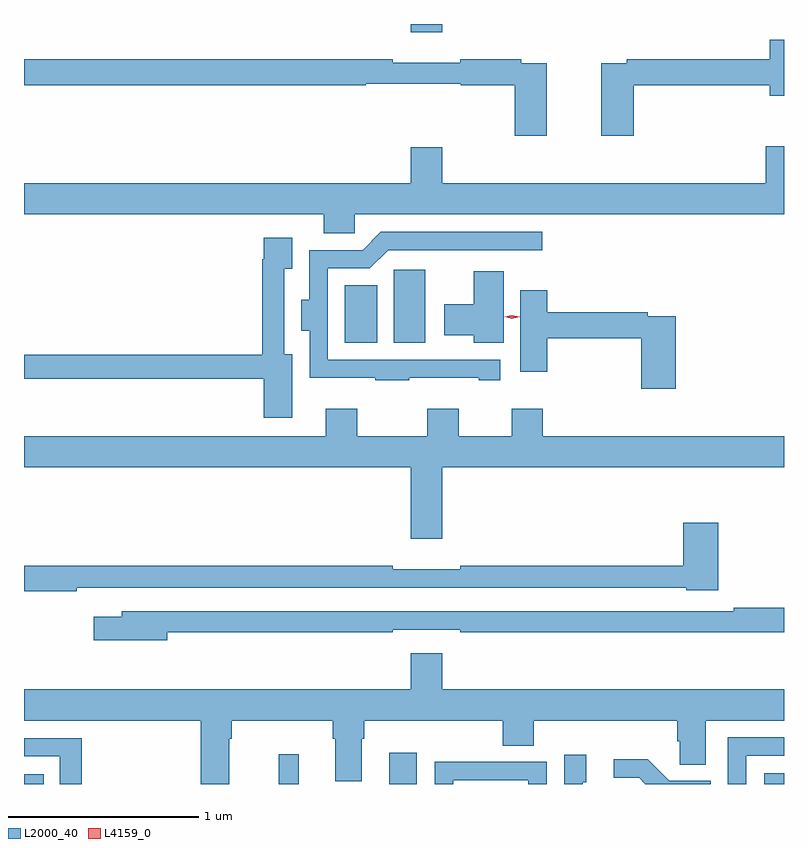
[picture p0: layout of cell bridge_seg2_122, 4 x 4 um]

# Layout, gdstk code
import gdstk
lib = gdstk.Library(unit=1e-6, precision=1e-09)
def R(c, l, rs):  # rectangles x0, y0, x1, y1
    for r in rs: c.add(gdstk.rectangle(r[:2], r[2:], *l))
def P(c, l, *ps):  # polygons
    for p in ps: c.add(gdstk.Polygon(p, *l))
L2000_40 = (2000, 40)
L4159_0 = (4159, 0)

bridge_seg2_122 = lib.new_cell('bridge_seg2_122')
R(bridge_seg2_122, L2000_40, [(462.672,645.97,462.776,646.021), (464.014,645.97,464.117,646.126), (464.594,645.97,464.74,646.135), (466.569,645.97,466.672,646.027), (464.36,648.293,464.53,648.595), (464.618,648.293,464.785,648.676), (464.708,649.926,464.872,649.97)])
P(bridge_seg2_122, L2000_40, [(465.881,649.648),(466.598,649.648),(466.598,649.592),(466.672,649.592),(466.672,649.888),(466.598,649.888),(466.598,649.784),(465.844,649.784),(465.844,649.764),(465.71,649.764),(465.71,649.383),(465.881,649.383)],
  [(465.424,649.764),(465.29,649.764),(465.29,649.784),(464.968,649.784),(464.968,649.765),(464.612,649.765),(464.612,649.784),(462.672,649.784),(462.672,649.648),(464.47,649.648),(464.47,649.656),(464.97,649.656),(464.97,649.648),(465.254,649.648),(465.254,649.383),(465.424,649.383)],
  [(464.412,648.968),(466.672,648.968),(466.672,649.327),(466.577,649.327),(466.577,649.132),(464.872,649.132),(464.872,649.321),(464.708,649.321),(464.708,649.132),(462.672,649.132),(462.672,648.968),(464.249,648.968),(464.249,648.87),(464.412,648.87)],
  [(464.699,648.107),(465.065,648.107),(465.065,648.096),(465.178,648.096),(465.178,648.204),(464.271,648.204),(464.271,648.684),(464.493,648.684),(464.589,648.78),(465.4,648.78),(465.4,648.876),(464.55,648.876),(464.454,648.78),(464.174,648.78),(464.174,648.52),(464.132,648.52),(464.132,648.356),(464.175,648.356),(464.175,648.107),(464.521,648.107),(464.521,648.096),(464.699,648.096)],
  [(464.083,648.232),(464.043,648.232),(464.043,648.683),(464.083,648.683),(464.083,648.844),(463.935,648.844),(463.935,648.731),(463.927,648.731),(463.927,648.23),(462.672,648.23),(462.672,648.102),(463.934,648.102),(463.934,647.898),(464.083,647.898)],
  [(465.196,648.67),(465.038,648.67),(465.038,648.496),(464.883,648.496),(464.883,648.332),(465.038,648.332),(465.038,648.293),(465.196,648.293)],
  [(466.103,648.432),(465.956,648.432),(465.956,648.452),(465.425,648.452),(465.425,648.568),(465.284,648.568),(465.284,648.141),(465.425,648.141),(465.425,648.316),(465.92,648.316),(465.92,648.051),(466.103,648.051)],
  [(464.872,647.636),(466.672,647.636),(466.672,647.8),(465.403,647.8),(465.403,647.944),(465.239,647.944),(465.239,647.8),(464.959,647.8),(464.959,647.944),(464.795,647.944),(464.795,647.8),(464.425,647.8),(464.425,647.944),(464.261,647.944),(464.261,647.8),(462.672,647.8),(462.672,647.636),(464.708,647.636),(464.708,647.262),(464.872,647.262)],
  [(462.95,647.004),(466.158,647.004),(466.158,646.991),(466.325,646.991),(466.325,647.344),(466.142,647.344),(466.142,647.12),(464.968,647.12),(464.968,647.101),(464.612,647.101),(464.612,647.12),(462.672,647.12),(462.672,646.984),(462.95,646.984)],
  [(463.426,646.77),(464.612,646.77),(464.612,646.782),(464.968,646.782),(464.968,646.77),(466.672,646.77),(466.672,646.898),(466.408,646.898),(466.408,646.878),(463.187,646.878),(463.187,646.849),(463.038,646.849),(463.038,646.727),(463.426,646.727)],
  [(463.753,646.208),(463.766,646.208),(463.766,646.304),(464.297,646.304),(464.297,646.208),(464.309,646.208),(464.309,645.984),(464.449,645.984),(464.449,646.208),(464.462,646.208),(464.462,646.304),(465.191,646.304),(465.191,646.171),(465.356,646.171),(465.356,646.304),(466.109,646.304),(466.109,646.195),(466.122,646.195),(466.122,646.072),(466.261,646.072),(466.261,646.304),(466.672,646.304),(466.672,646.468),(464.872,646.468),(464.872,646.657),(464.708,646.657),(464.708,646.468),(462.672,646.468),(462.672,646.304),(463.601,646.304),(463.601,645.97),(463.753,645.97)],
  [(466.473,646.119),(466.672,646.119),(466.672,646.215),(466.377,646.215),(466.377,645.97),(466.473,645.97)],
  [(462.977,646.212),(462.672,646.212),(462.672,646.116),(462.861,646.116),(462.861,645.97),(462.977,645.97)],
  [(465.612,645.978),(465.631,645.978),(465.631,646.123),(465.516,646.123),(465.516,645.97),(465.612,645.97)],
  [(466.287,645.987),(466.068,645.987),(465.955,646.1),(465.777,646.1),(465.777,646.002),(465.911,646.002),(465.943,645.97),(466.287,645.97)],
  [(464.931,645.99),(465.327,645.99),(465.327,645.97),(465.423,645.97),(465.423,646.086),(465.107,646.086),(465.107,646.088),(464.835,646.088),(464.835,645.97),(464.931,645.97)])
P(bridge_seg2_122, L4159_0, [(465.24,648.418),(465.201,648.428),(465.2,648.429),(465.201,648.429),(465.24,648.438),(465.28,648.429),(465.28,648.428),(465.28,648.428)])

lib.write_gds('bridge_seg2_122.gds')
